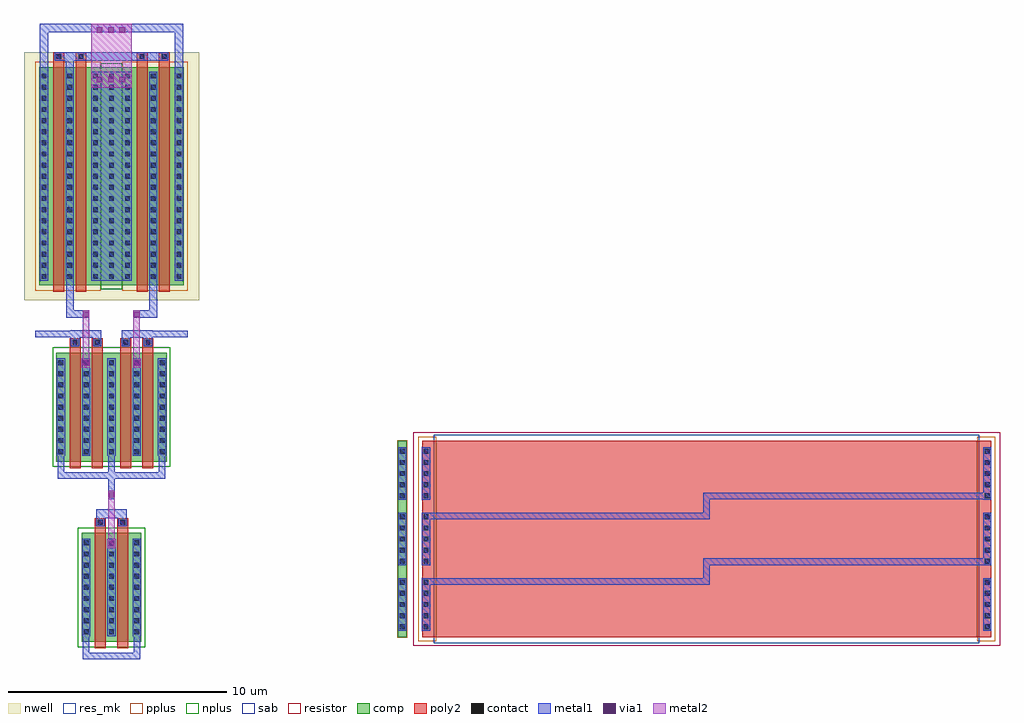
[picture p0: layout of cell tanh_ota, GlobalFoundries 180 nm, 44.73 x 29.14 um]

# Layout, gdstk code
from math import pi, radians
import gdstk
lib = gdstk.Library(unit=1e-6, precision=5e-09)
def R(c, l, rs):  # rectangles x0, y0, x1, y1
    for r in rs: c.add(gdstk.rectangle(r[:2], r[2:], *l))
def A(c, l, x, y, w, h, nx, ny, dx, dy):  # array of equal rectangles
    R(c, l, [(x+i*dx, y+j*dy, x+i*dx+w, y+j*dy+h) for i in range(nx) for j in range(ny)])
def P(c, l, *ps):  # polygons
    for p in ps: c.add(gdstk.Polygon(p, *l))
nwell = (21, 0)
comp = (22, 0)
poly2 = (30, 0)
pplus = (31, 0)
nplus = (32, 0)
contact = (33, 0)
metal1 = (34, 0)
via1 = (35, 0)
metal2 = (36, 0)
sab = (49, 0)
resistor = (62, 0)
res_mk = (110, 5)

nfet = lib.new_cell('nfet')
R(nfet, comp, [(-0.42,0,0,5), (0,0,1.9,5), (1.9,0,2.32,5)])
R(nfet, poly2, [(0.19,-0.3,0.69,5.3), (1.21,-0.3,1.71,5.3), (0.19,5.3,0.69,5.66), (1.21,5.3,1.71,5.66)])
R(nfet, nplus, [(-0.59,-0.24,2.49,5.24)])
A(nfet, contact, -0.32, 0.35, 0.22, 0.22, 3, 9, 1.16, 0.51)
R(nfet, contact, [(0.33,5.37,0.55,5.59), (1.35,5.37,1.57,5.59)])
A(nfet, metal1, -0.4, 0.27, 0.38, 4.46, 3, 1, 1.16, 0)
R(nfet, metal1, [(0.25,5.29,0.63,5.67), (1.27,5.29,1.65,5.67)])

ppolyf_u_high_rs_resisto = lib.new_cell('ppolyf_u_high_Rs_resistor')
A(ppolyf_u_high_rs_resisto, comp, -1.76, 0, 0.42, 3, 1, 3, 0, 3)
A(ppolyf_u_high_rs_resisto, poly2, -0.64, 0, 26.08, 3, 1, 3, 0, 3)
A(ppolyf_u_high_rs_resisto, pplus, -0.82, -0.18, 0.82, 3.36, 1, 3, 0, 3)
A(ppolyf_u_high_rs_resisto, pplus, 24.8, -0.18, 0.82, 3.36, 1, 3, 0, 3)
A(ppolyf_u_high_rs_resisto, pplus, -1.78, -0.02, 0.46, 3.04, 1, 3, 0, 3)
A(ppolyf_u_high_rs_resisto, contact, -1.66, 0.37, 0.22, 0.22, 1, 5, 0, 0.51)
A(ppolyf_u_high_rs_resisto, contact, -0.57, 0.37, 0.22, 0.22, 1, 5, 0, 0.51)
A(ppolyf_u_high_rs_resisto, contact, 25.15, 0.37, 0.22, 0.22, 1, 5, 0, 0.51)
A(ppolyf_u_high_rs_resisto, contact, -1.66, 3.37, 0.22, 0.22, 1, 5, 0, 0.51)
A(ppolyf_u_high_rs_resisto, contact, -0.57, 3.37, 0.22, 0.22, 1, 5, 0, 0.51)
A(ppolyf_u_high_rs_resisto, contact, 25.15, 3.37, 0.22, 0.22, 1, 5, 0, 0.51)
A(ppolyf_u_high_rs_resisto, contact, -1.66, 6.37, 0.22, 0.22, 1, 5, 0, 0.51)
A(ppolyf_u_high_rs_resisto, contact, -0.57, 6.37, 0.22, 0.22, 1, 5, 0, 0.51)
A(ppolyf_u_high_rs_resisto, contact, 25.15, 6.37, 0.22, 0.22, 1, 5, 0, 0.51)
A(ppolyf_u_high_rs_resisto, metal1, -1.74, 0.29, 0.38, 2.42, 1, 3, 0, 3)
A(ppolyf_u_high_rs_resisto, metal1, -0.65, 0.29, 0.38, 2.42, 1, 3, 0, 3)
A(ppolyf_u_high_rs_resisto, metal1, 25.07, 0.29, 0.38, 2.42, 1, 3, 0, 3)
A(ppolyf_u_high_rs_resisto, sab, -0.1, -0.28, 25, 3.56, 1, 3, 0, 3)
A(ppolyf_u_high_rs_resisto, resistor, -1.04, -0.4, 26.88, 3.8, 1, 3, 0, 3)
A(ppolyf_u_high_rs_resisto, res_mk, 0, 0, 24.8, 3, 1, 3, 0, 3)

pfet = lib.new_cell('pfet')
R(pfet, nwell, [(-1.15,-0.69,3.78,10.69)])
R(pfet, comp, [(-0.46,0,0,10), (0,0,1.9,10), (1.9,0,2.36,10), (2.36,0,3.09,10)])
R(pfet, poly2, [(0.19,-0.3,0.69,10.3), (1.21,-0.3,1.71,10.3), (0.19,10.3,0.69,10.68), (1.21,10.3,1.71,10.68)])
R(pfet, pplus, [(-0.63,-0.24,2.36,10.24)])
R(pfet, nplus, [(2.36,-0.17,3.26,10.17)])
A(pfet, contact, -0.34, 0.3, 0.22, 0.22, 3, 19, 1.18, 0.51)
A(pfet, contact, 2.75, 0.3, 0.22, 0.22, 1, 19, 0, 0.51)
R(pfet, contact, [(0.33,10.38,0.55,10.6), (1.35,10.38,1.57,10.6)])
A(pfet, metal1, -0.42, 0.22, 0.38, 9.56, 3, 1, 1.18, 0)
R(pfet, metal1, [(2.67,0.22,3.05,9.78), (0.25,10.3,0.63,10.68), (1.27,10.3,1.65,10.68)])

tanh_ota = lib.new_cell('tanh_ota')
R(tanh_ota, metal1, [(2.785,9.74,4.185,10.155), (1.625,18,3.025,18.36), (3.945,18,5.345,18.36), (2.565,20.63,4.405,30.19), (1.385,30.19,1.765,30.71), (0.875,30.71,6.095,31.09)])
P(tanh_ota, metal1, [(3.335,10.62),(3.335,11.545),(1.015,11.545),(1.015,12.6),(1.315,12.6),(1.315,11.845),(3.335,11.845),(3.335,12.6),(3.635,12.6),(3.635,11.845),(5.655,11.845),(5.655,12.6),(5.955,12.6),(5.955,11.545),(3.635,11.545),(3.635,10.62)],
  [(18.09,9.69),(18.09,9.99),(30.61,9.99),(30.61,10.915),(43.43,10.915),(43.43,10.615),(30.91,10.615),(30.91,9.69)],
  [(18.09,6.685),(18.09,6.985),(30.61,6.985),(30.61,7.895),(43.43,7.895),(43.43,7.595),(30.91,7.595),(30.91,6.685)])
A(tanh_ota, via1, 2.805, 29.715, 0.26, 0.26, 3, 2, 0.52, 2.27)
R(tanh_ota, via1, [(3.36,8.465,3.62,8.725), (3.36,10.68,3.62,10.94), (2.195,16.735,2.455,16.995), (4.515,16.735,4.775,16.995), (2.195,18.95,2.455,19.21), (4.515,18.95,4.775,19.21)])
P(tanh_ota, via1, [(3.53,8.56),(3.53,8.56),(3.53,8.56),(3.53,8.56)],
  [(2.365,16.83),(2.365,16.83),(2.365,16.83),(2.365,16.83)],
  [(4.685,16.83),(4.685,16.83),(4.685,16.83),(4.685,16.83)])
R(tanh_ota, metal2, [(3.295,8.37,3.675,8.8), (2.13,16.64,2.51,17.07), (4.45,16.64,4.83,17.07), (2.565,29.475,4.405,32.405)])
tanh_ota.add(gdstk.FlexPath([(1.575,20.63),(1.575,19.095),(2.47,19.095),(2.47,19.095)], 0.35, ends="flush", simple_path=True, layer=34, datatype=0))  # metal1
tanh_ota.add(gdstk.FlexPath([(5.395,20.63),(5.395,19.095),(4.49,19.095)], 0.35, ends="flush", simple_path=True, layer=34, datatype=0))  # metal1
tanh_ota.add(gdstk.FlexPath([(0.395,30.19),(0.395,32.205),(6.575,32.205),(6.575,30.19),(6.575,30.19)], 0.4, ends="flush", simple_path=True, layer=34, datatype=0))  # metal1
tanh_ota.add(gdstk.FlexPath([(2.325,4.34),(2.325,3.42),(4.645,3.42),(4.645,4.34),(4.645,4.34)], 0.3, ends="flush", simple_path=True, layer=34, datatype=0))  # metal1
tanh_ota.add(gdstk.FlexPath([(1.625,18.18),(0,18.18)], 0.3, ends="flush", simple_path=True, layer=34, datatype=0))  # metal1
tanh_ota.add(gdstk.FlexPath([(6.97,18.18),(5.345,18.18)], 0.3, ends="flush", simple_path=True, layer=34, datatype=0))  # metal1
tanh_ota.add(gdstk.FlexPath([(3.485,8.8),(3.485,11),(3.485,11)], 0.3, ends="flush", simple_path=True, layer=36, datatype=0))  # metal2
tanh_ota.add(gdstk.FlexPath([(2.32,17.07),(2.32,19.27),(2.32,19.27)], 0.3, ends="flush", simple_path=True, layer=36, datatype=0))  # metal2
tanh_ota.add(gdstk.FlexPath([(4.64,17.07),(4.64,19.27),(4.64,19.27)], 0.3, ends="flush", simple_path=True, layer=36, datatype=0))  # metal2
tanh_ota.add(gdstk.Reference(nfet, (1.375,12.33)))
tanh_ota.add(gdstk.Reference(nfet, (3.695,12.33)))
tanh_ota.add(gdstk.Reference(nfet, (2.535,4.07)))
tanh_ota.add(gdstk.Reference(ppolyf_u_high_rs_resisto, (18.36,4.285)))
tanh_ota.add(gdstk.Reference(pfet, (0.625,20.41)))
tanh_ota.add(gdstk.Reference(pfet, (6.345,20.41), rotation=pi, x_reflection=True))

lib.write_gds('tanh_ota.gds')
